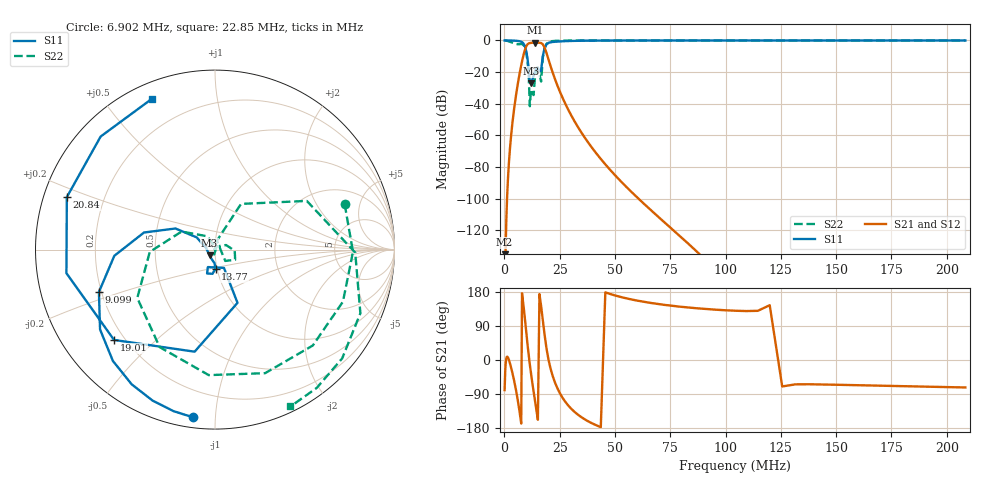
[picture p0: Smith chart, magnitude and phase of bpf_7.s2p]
! NeoRadio BPF 7: 12-16 MHz, selected in the bank
! generated_by 859cd57
# HZ S RI R 50
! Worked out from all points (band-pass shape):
!   182 points, 50 kHz to 208.4 MHz, reference 50 ohm
!   highest |S21| = -1.39 dB at 13.77 MHz (marker M1); lowest = -198.8 dB at 50 kHz (marker M2)
!   |S21| within 3 dB of the highest: 9.634 MHz to 18.1 MHz (8.467 MHz wide, 61.1 % of centre)
!   lowest |S11| = -27.1 dB at 11.99 MHz (marker M3), VSWR 1.09, Z = 46.9 - j3.03 ohm
!   |S11| at or under -10 dB: 10.22 MHz to 17.32 MHz (7.104 MHz wide, 51.6 % of centre)
!   |S22| runs from -41.6 to 0.0 dB; largest |S21 - S12| = 0
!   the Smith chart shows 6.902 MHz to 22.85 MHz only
!   S11 on the Smith chart (normalised r, x): 6.902 MHz: 0.05, -0.88; 9.099 MHz: 0.19, -0.17; 13.77 MHz: 0.98, -0.21; 19.01 MHz: 0.16, -0.37; 20.84 MHz: 0.07, +0.17; 22.85 MHz: 0.07, +0.66
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50000  0.9999 -0.0103  2.14e-11 -1.13e-10  2.14e-11 -1.13e-10  0.999 -0.0433
208434.7  0.999 -0.043  6.59e-09 -7.41e-09  6.59e-09 -7.41e-09  0.9829 -0.1793
829793.5  0.9849 -0.1708  2.17e-06 1.7e-07  2.17e-06 1.7e-07  0.7461 -0.6452
1900947  0.9202 -0.3854  0.000107 3.56e-06  0.000107 3.56e-06  -0.0168 -0.9395
3303467  0.7564 -0.6426  0.00146 -0.00076  0.00146 -0.00076  -0.767 -0.3979
5482391  0.3084 -0.9241  0.000762 -0.0248  0.000762 -0.0248  -0.1741 0.7494
6901921  -0.1207 -0.9349  -0.0732 -0.0617  -0.0732 -0.0617  0.7224 0.253
9098504  -0.6468 -0.2361  -0.2106 0.4203  -0.2106 0.4203  -0.3082 -0.5433
1.044648e7  -0.2205 0.1176  0.5881 0.4787  0.5881 0.4787  -0.1857 0.1008
1.145434e7  -0.0489 0.00748  0.8096 -0.1706  0.8096 -0.1706  0.00568 0.00612
1.199416e7  -0.0305 -0.0322  0.68 -0.4928  0.68 -0.4928  -0.00466 -0.0276
1.315134e7  -0.00243 -0.0762  0.1011 -0.8454  0.1011 -0.8454  0.00804 0.017
1.377114e7  0.00316 -0.1071  -0.2522 -0.814  -0.2522 -0.814  0.0618 0.0255
1.581139e7  -0.0396 -0.0973  -0.8399 0.0859  -0.8399 0.0859  0.0573 -0.0631
1.655656e7  0.0498 -0.1019  -0.6551 0.5061  -0.6551 0.5061  0.0103 0.0494
1.733684e7  0.1253 -0.2967  -0.1997 0.7299  -0.1997 0.7299  0.1451 0.2546
1.900947e7  -0.5625 -0.5033  0.3462 0.1985  0.3462 0.1985  0.7813 -0.0166
2.084347e7  -0.8255 0.2925  0.1413 -0.0599  0.1413 -0.0599  0.7087 -0.6061
2.285441e7  -0.3537 0.8385  0.03 -0.0515  0.03 -0.0515  0.4204 -0.8741
3.154787e7  0.9614 0.1324  -0.00209 -0.002  -0.00209 -0.002  -0.3077 -0.9453
5.235643e7  0.3223 -0.9416  -3.6e-05 8.56e-06  -3.6e-05 8.56e-06  -0.7628 -0.6434
2.084347e8  -0.8889 -0.4545  2.6e-08 -8.23e-08  2.6e-08 -8.23e-08  -0.9838 -0.1688
